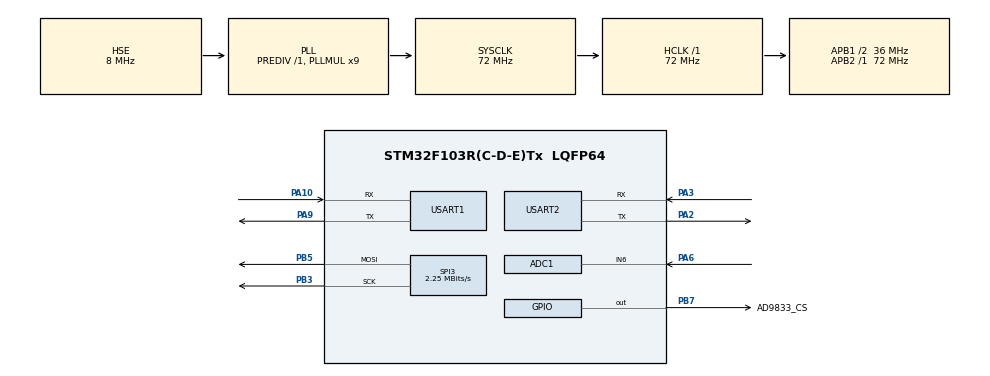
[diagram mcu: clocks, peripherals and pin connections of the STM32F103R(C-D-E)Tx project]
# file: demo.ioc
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ADC1.Channel-0\#ChannelRegularConversion=ADC_CHANNEL_6
ADC1.NbrOfConversion=1
ADC1.NbrOfConversionFlag=1
ADC1.Rank-0\#ChannelRegularConversion=1
ADC1.SamplingTime-0\#ChannelRegularConversion=ADC_SAMPLETIME_55CYCLES_5
ADC1.master=1
Mcu.Family=STM32F1
Mcu.Name=STM32F103R(C-D-E)Tx
Mcu.Package=LQFP64
NVIC.ADC1_2_IRQn=true\:0\:0\:false\:false\:true\:true\:true
NVIC.PriorityGroup=NVIC_PRIORITYGROUP_4
NVIC.TIM7_IRQn=true\:1\:0\:true\:false\:true\:true\:true
PA10.Mode=Asynchronous
PA10.Signal=USART1_RX
PA13.Mode=Serial_Wire
PA13.Signal=SYS_JTMS-SWDIO
PA14.Mode=Serial_Wire
PA14.Signal=SYS_JTCK-SWCLK
PA2.Mode=Asynchronous
PA2.Signal=USART2_TX
PA3.Mode=Asynchronous
PA3.Signal=USART2_RX
PA6.Signal=ADCx_IN6
PA9.Mode=Asynchronous
PA9.Signal=USART1_TX
PB3.Mode=TX_Only_Simplex_Unidirect_Master
PB3.Signal=SPI3_SCK
PB5.Mode=TX_Only_Simplex_Unidirect_Master
PB5.Signal=SPI3_MOSI
PB7.GPIO_Label=AD9833_CS
PB7.GPIO_PuPd=GPIO_PULLUP
PB7.GPIO_Speed=GPIO_SPEED_FREQ_HIGH
PB7.PinState=GPIO_PIN_SET
PB7.Signal=GPIO_Output
PD0-OSC_IN.Mode=HSE-External-Oscillator
PD0-OSC_IN.Signal=RCC_OSC_IN
PD1-OSC_OUT.Mode=HSE-External-Oscillator
PD1-OSC_OUT.Signal=RCC_OSC_OUT
ProjectManager.HeapSize=0x200
ProjectManager.StackSize=0x400
ProjectManager.TargetToolchain=MDK-ARM V5
RCC.ADCPresc=RCC_ADCPCLK2_DIV6
RCC.AHBFreq_Value=72000000
RCC.APB1CLKDivider=RCC_HCLK_DIV2
RCC.APB1Freq_Value=36000000
RCC.APB1TimFreq_Value=72000000
RCC.APB2Freq_Value=72000000
RCC.APB2TimFreq_Value=72000000
RCC.HCLKFreq_Value=72000000
RCC.PLLMUL=RCC_PLL_MUL9
RCC.PLLSourceVirtual=RCC_PLLSOURCE_HSE
RCC.SYSCLKFreq_VALUE=72000000
RCC.SYSCLKSource=RCC_SYSCLKSOURCE_PLLCLK
RCC.USBFreq_Value=72000000
SH.ADCx_IN6.0=ADC1_IN6,IN6
SPI3.BaudRatePrescaler=SPI_BAUDRATEPRESCALER_16
SPI3.CLKPolarity=SPI_POLARITY_HIGH
SPI3.CalculateBaudRate=2.25 MBits/s
SPI3.DataSize=SPI_DATASIZE_16BIT
SPI3.Direction=SPI_DIRECTION_2LINES
SPI3.Mode=SPI_MODE_MASTER
SPI3.VirtualType=VM_MASTER
TIM7.AutoReloadPreload=TIM_AUTORELOAD_PRELOAD_ENABLE
TIM7.Period=100-1
TIM7.Prescaler=72-1
USART1.VirtualMode=VM_ASYNC
USART2.VirtualMode=VM_ASYNC
VP_TIM7_VS_ClockSourceINT.Mode=Enable_Timer
board=custom

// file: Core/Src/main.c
/* USER CODE BEGIN Header */
/**
 ******************************************************************************
 * @file           : main.c
 * @brief          : Main program body
 ******************************************************************************
 * @attention
 *
 * <h2><center>&copy; Copyright (c) 2022 STMicroelectronics.
 * All rights reserved.</center></h2>
 *
 * This software component is licensed by ST under BSD 3-Clause license,
 * the "License"; You may not use this file except in compliance with the
 * License. You may obtain a copy of the License at:
 *                        opensource.org/licenses/BSD-3-Clause
 *
 ******************************************************************************
 */
/* USER CODE END Header */

#include "main.h"
#include "adc.h"
#include "gpio.h"
#include "spi.h"
#include "tim.h"
#include "usart.h"

/* USER CODE BEGIN Includes */
#include "AD9833/ad9833.h"
/* USER CODE END Includes */

void SystemClock_Config(void);

/* USER CODE BEGIN 0 */

void HAL_TIM_PeriodElapsedCallback(TIM_HandleTypeDef* htim) {  // TIM
    if (htim->Instance == TIM7) HAL_ADC_Start_IT(&hadc1);
}
void HAL_ADC_ConvCpltCallback(ADC_HandleTypeDef* hadc) {  // ADC
    HAL_ADC_Stop_IT(&hadc1);
    HAL_TIM_Base_Stop_IT(&htim7);
    printf("%.2f\r\n", HAL_ADC_GetValue(&hadc1) * 3.3f / 4096);
    HAL_TIM_Base_Start_IT(&htim7);
}

/* USER CODE END 0 */

int main(void) {

    /* MCU Configuration--------------------------------------------------------*/

    /* Reset of all peripherals, Initializes the Flash interface and the Systick. */
    HAL_Init();

    /* Configure the system clock */
    SystemClock_Config();

    /* Initialize all configured peripherals */
    MX_GPIO_Init();
    MX_USART1_UART_Init();
    MX_ADC1_Init();
    MX_SPI3_Init();
    MX_TIM7_Init();
    MX_USART2_UART_Init();

    /* Infinite loop */
    /* USER CODE BEGIN WHILE */

    HAL_ADCEx_Calibration_Start(&hadc1);  // 校准

    AD9833_Init();
    AD9833_SetFrequency(FREQ0_SELECT, 10);
    AD9833_SetPhase(PHASE0_SELECT, 0);
    AD9833_SetOutput(FREQ0_OUTPUT, PHASE0_OUTPUT);

    HAL_TIM_Base_Start_IT(&htim7);

    while (1) {
        AD9833_SetWaveform(WAVEFORM_SINE);
        HAL_Delay(500);
        AD9833_SetWaveform(WAVEFORM_HALF_SQUARE);
        HAL_Delay(500);
        AD9833_SetWaveform(WAVEFORM_TRIANGLE);
        HAL_Delay(500);
        AD9833_SetWaveform(WAVEFORM_SQUARE);
        HAL_Delay(500);
        /* USER CODE END WHILE */

    }
}

void SystemClock_Config(void) {
    RCC_OscInitTypeDef       RCC_OscInitStruct = {0};
    RCC_ClkInitTypeDef       RCC_ClkInitStruct = {0};
    RCC_PeriphCLKInitTypeDef PeriphClkInit     = {0};

    /** Initializes the CPU, AHB and APB busses clocks
     */
    RCC_OscInitStruct.OscillatorType = RCC_OSCILLATORTYPE_HSE;
    RCC_OscInitStruct.HSEState       = RCC_HSE_ON;
    RCC_OscInitStruct.HSEPredivValue = RCC_HSE_PREDIV_DIV1;
    RCC_OscInitStruct.HSIState       = RCC_HSI_ON;
    RCC_OscInitStruct.PLL.PLLState   = RCC_PLL_ON;
    RCC_OscInitStruct.PLL.PLLSource  = RCC_PLLSOURCE_HSE;
    RCC_OscInitStruct.PLL.PLLMUL     = RCC_PLL_MUL9;
    if (HAL_RCC_OscConfig(&RCC_OscInitStruct) != HAL_OK) {
        Error_Handler();
    }
    /** Initializes the CPU, AHB and APB busses clocks
     */
    RCC_ClkInitStruct.ClockType      = RCC_CLOCKTYPE_HCLK | RCC_CLOCKTYPE_SYSCLK | RCC_CLOCKTYPE_PCLK1 | RCC_CLOCKTYPE_PCLK2;
    RCC_ClkInitStruct.SYSCLKSource   = RCC_SYSCLKSOURCE_PLLCLK;
    RCC_ClkInitStruct.AHBCLKDivider  = RCC_SYSCLK_DIV1;
    RCC_ClkInitStruct.APB1CLKDivider = RCC_HCLK_DIV2;
    RCC_ClkInitStruct.APB2CLKDivider = RCC_HCLK_DIV1;

    if (HAL_RCC_ClockConfig(&RCC_ClkInitStruct, FLASH_LATENCY_2) != HAL_OK) {
        Error_Handler();
    }
    PeriphClkInit.PeriphClockSelection = RCC_PERIPHCLK_ADC;
    PeriphClkInit.AdcClockSelection    = RCC_ADCPCLK2_DIV6;
    if (HAL_RCCEx_PeriphCLKConfig(&PeriphClkInit) != HAL_OK) {
        Error_Handler();
    }
}

void Error_Handler(void) {
}

/************************ (C) COPYRIGHT STMicroelectronics *****END OF FILE****/
